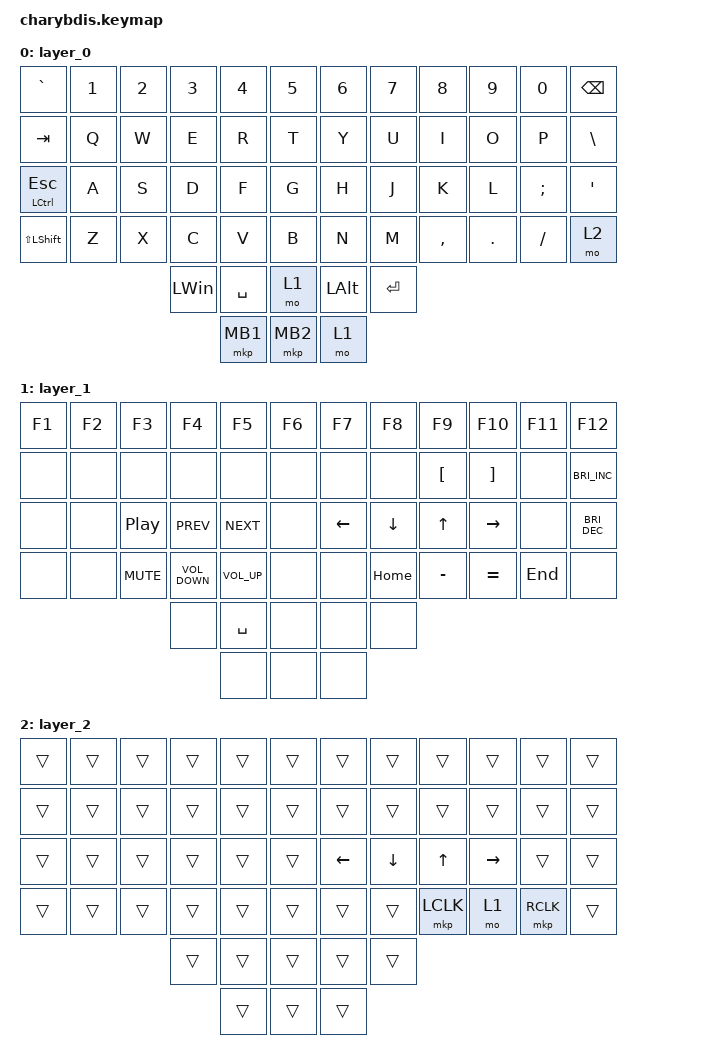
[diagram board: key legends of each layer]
#include <dt-bindings/zmk/mouse.h>

#define ZMK_POINTING_DEFAULT_MOVE_VAL 15000
#define ZMK_POINTING_DEFAULT_SCRL_VAL 20

#include <behaviors.dtsi>
#include <dt-bindings/zmk/keys.h>
#include <dt-bindings/zmk/pointing.h>

&lt {
    tapping-term-ms = <200>;
    flavor = "balanced";
    quick-tap-ms = <150>;
};

/ {
    /* Custom Behaviors for Trackball */

    behaviors {
        tmv: behavior_trackball_move {
            compatible = "zmk,behavior-point-device-incremental";
            label = "TRACKBALL_MOVE";
            #trackball-binding-cells = <0>;
            mode = "move-mode";
            flavor = "default";
            scale_mode = "multiplier";
            scale_factor = <3>;
        };
    };

    /* trackball scroll */

    behaviors {
        /omit-if-no-ref/

        tsl: behavior_trackball_scroll {
            compatible = "zmk,behavior-point-device-incremental";
            label = "TRACKBALL_SCROLL";
            #trackball-binding-cells = <0>;
            mode = "scroll-mode";
            flavor = "default";
            scale_mode = "dividor";
            scale_factor = <2>;
        };
    };

    keymap {
        compatible = "zmk,keymap";

        layer_0 {
            bindings = <
&kp GRAVE           &kp N1  &kp N2  &kp N3        &kp N4     &kp N5      &kp N6    &kp N7     &kp N8     &kp N9   &kp N0    &kp BACKSPACE
&kp TAB             &kp Q   &kp W   &kp E         &kp R      &kp T       &kp Y     &kp U      &kp I      &kp O    &kp P     &kp BSLH
&mt LCTRL ESCAPE    &kp A   &kp S   &kp D         &kp F      &kp G       &kp H     &kp J      &kp K      &kp L    &kp SEMI  &kp SQT
&kp LS(LEFT_SHIFT)  &kp Z   &kp X   &kp C         &kp V      &kp B       &kp N     &kp M      &kp COMMA  &kp DOT  &kp FSLH  &mo 2
                                    &kp LEFT_WIN  &kp SPACE  &mo 1       &kp LALT  &kp ENTER
                                                  &mkp MB1   &mkp MB2    &mo 1
            >;

            trackball-bindings = <&tmv>;
        };

        layer_1 {
            bindings = <
&kp F1  &kp F2  &kp F3            &kp F4             &kp F5           &kp F6    &kp F7          &kp F8          &kp F9            &kp F10            &kp F11  &kp F12
&none   &none   &none             &none              &none            &none     &none           &none           &kp LEFT_BRACKET  &kp RIGHT_BRACKET  &none    &kp C_BRIGHTNESS_INC
&none   &none   &kp C_PLAY_PAUSE  &kp C_PREV         &kp C_NEXT       &none     &kp LEFT_ARROW  &kp DOWN_ARROW  &kp UP_ARROW      &kp RIGHT_ARROW    &none    &kp C_BRIGHTNESS_DEC
&none   &none   &kp C_MUTE        &kp K_VOLUME_DOWN  &kp C_VOLUME_UP  &none     &none           &kp HOME        &kp MINUS         &kp EQUAL          &kp END  &none
                                  &none              &kp SPACE        &none     &none           &none
                                                     &none            &none     &none
            >;

            trackball-bindings = <&tsl>;
        };

        layer_2 {
            bindings = <
&trans  &trans  &trans  &trans  &trans  &trans    &trans          &trans          &trans        &trans           &trans     &trans
&trans  &trans  &trans  &trans  &trans  &trans    &trans          &trans          &trans        &trans           &trans     &trans
&trans  &trans  &trans  &trans  &trans  &trans    &kp LEFT_ARROW  &kp DOWN_ARROW  &kp UP_ARROW  &kp RIGHT_ARROW  &trans     &trans
&trans  &trans  &trans  &trans  &trans  &trans    &trans          &trans          &mkp LCLK     &mo 1            &mkp RCLK  &trans
                        &trans  &trans  &trans    &trans          &trans
                                &trans  &trans    &trans
            >;
        };

        /* layer_2 {
            bindings = <
&none  &none   &none    &none   &none         &none         &kp N1         &none         &none     &none  &none   &to 0
&none  &none   &none    &none   &none         &none         &none         &none          &rgb_ug RGB_BRD &rgb_ug RGB_BRI  &rgb_ug RGB_EFF   &rgb_ug RGB_TOG
&none  &none   &none    &none   &none         &none         &none         &mkp LCLK     &mkp RCLK  &none  &none   &none
&none  &none   &none    &none   &bt BT_NXT  &bt BT_CLR    &none         &none         &none     &none  &none   &none
                                   &none         &none         &none         &none         &none
                                                 &none         &none         &none
            >;
          trackball-bindings = <&tsl>;
            
        };

       Mouse {
            bindings = <
&none        &none         &none         &none         &none      &none         &none       &none      &none         &none         &none         &none
&none        &bt BT_SEL 0  &bt BT_SEL 1  &bt BT_SEL 3  &none      &bt BT_CLR    &bt BT_CLR  &none      &bt BT_SEL 2  &bt BT_SEL 1  &bt BT_SEL 0  &none
&none        &trans        &trans        &mkp MCLK     &trans     &none         &none       &trans     &mkp MCLK     &trans        &trans        &none
&bootloader  &trans        &mkp RCLK     &mo 4         &mkp LCLK  &mo 5         &mo 5       &mkp LCLK  &mo 4         &mkp RCLK     &trans        &bootloader
                                         &mo 5         &mkp LCLK  &mkp RCLK     &mkp RCLK   &mkp LCLK
                                                       &none      &trans        &trans
            >;

            
        };

        layer_4 {
            bindings = <
&trans  &trans  &trans     &trans     &trans     &trans       &trans     &trans     &trans     &trans     &trans  &trans
&trans  &trans  &trans     &trans     &trans     &trans       &trans     &trans     &trans     &trans     &trans  &trans
&trans  &trans  &trans     &mkp MCLK  &trans     &trans       &trans     &trans     &mkp MCLK  &trans     &trans  &trans
&trans  &trans  &mkp RCLK  &trans     &mkp LCLK  &trans       &trans     &mkp LCLK  &trans     &mkp RCLK  &trans  &trans
                           &trans     &mkp LCLK  &mkp RCLK    &mkp RCLK  &mkp LCLK
                                      &trans     &trans       &trans
            >;
                
                
                trackball-bindings = <&tsl>;
        };

        layer_5 {
            bindings = <
&trans  &trans  &trans     &trans     &trans     &trans       &trans     &trans     &trans     &trans     &trans  &trans
&trans  &trans  &trans     &trans     &trans     &trans       &trans     &trans     &trans     &trans     &trans  &trans
&trans  &trans  &trans     &mkp MCLK  &trans     &trans       &trans     &trans     &mkp MCLK  &trans     &trans  &trans
&trans  &trans  &mkp RCLK  &trans     &mkp LCLK  &trans       &trans     &mkp LCLK  &trans     &mkp RCLK  &trans  &trans
                           &trans     &mkp LCLK  &mkp RCLK    &mkp RCLK  &mkp LCLK
                                      &trans     &trans       &trans
            >;
                trackball-bindings = <&tmv_fine>;
                
        };*/
    };
};
